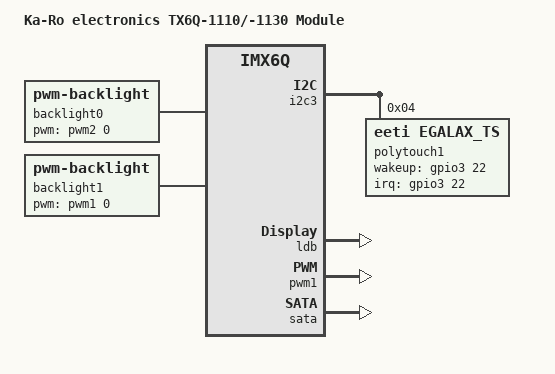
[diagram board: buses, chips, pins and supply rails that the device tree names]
/*
 * Copyright 2014 Lothar Waßmann <LW@KARO-electronics.de>
 *
 * The code contained herein is licensed under the GNU General Public
 * License. You may obtain a copy of the GNU General Public License
 * Version 2 at the following locations:
 *
 * http://www.opensource.org/licenses/gpl-license.html
 * http://www.gnu.org/copyleft/gpl.html
 */

/dts-v1/;
#include "imx6q.dtsi"
#include "imx6qdl-tx6.dtsi"

/ {
	model = "Ka-Ro electronics TX6Q-1110/-1130 Module";
	compatible = "karo,imx6q-tx6q", "fsl,imx6q";

	aliases {
		display = &lvds0;
		ipu1 = &ipu2;
		lvds0 = &lvds0;
		lvds1 = &lvds1;
		mxcfb0 = &lvds0;
		mxcfb1 = &lvds1;
	};

	backlight0: backlight0 {
		compatible = "pwm-backlight";
		pwms = <&pwm2 0 500000 0>;
		/*
		 * a poor man's way to create a 1:1 relationship between
		 * the PWM value and the actual duty cycle
		 */
		brightness-levels = < 0  1  2  3  4  5  6  7  8  9
				     10 11 12 13 14 15 16 17 18 19
				     20 21 22 23 24 25 26 27 28 29
				     30 31 32 33 34 35 36 37 38 39
				     40 41 42 43 44 45 46 47 48 49
				     50 51 52 53 54 55 56 57 58 59
				     60 61 62 63 64 65 66 67 68 69
				     70 71 72 73 74 75 76 77 78 79
				     80 81 82 83 84 85 86 87 88 89
				     90 91 92 93 94 95 96 97 98 99
				    100>;
		default-brightness-level = <50>;
	};

	backlight1: backlight1 {
		compatible = "pwm-backlight";
		pwms = <&pwm1 0 500000 0>;
		/*
		 * a poor man's way to create a 1:1 relationship between
		 * the PWM value and the actual duty cycle
		 */
		brightness-levels = < 0  1  2  3  4  5  6  7  8  9
				     10 11 12 13 14 15 16 17 18 19
				     20 21 22 23 24 25 26 27 28 29
				     30 31 32 33 34 35 36 37 38 39
				     40 41 42 43 44 45 46 47 48 49
				     50 51 52 53 54 55 56 57 58 59
				     60 61 62 63 64 65 66 67 68 69
				     70 71 72 73 74 75 76 77 78 79
				     80 81 82 83 84 85 86 87 88 89
				     90 91 92 93 94 95 96 97 98 99
				    100>;
		default-brightness-level = <50>;
	};

	lvds0: fb@0 {
		compatible = "fsl,mxc_sdc_fb";
		disp_dev = "ldb";
		interface_pix_fmt = "RGB666";
		mode_str = "LDB-XGA";
		default_bpp = <32>;
		int_clk = <0>;
		late_init = <0>;
		fsl,data-mapping = "spwg";
		fsl,data-width = <18>;
		status = "okay";

		display-timings {
			native-mode = <&lvds0_timing0>;

			lvds0_timing0: hsd100pxn1 {
				clock-frequency = <65000000>;
				hactive = <1024>;
				vactive = <768>;
				hback-porch = <220>;
				hfront-porch = <40>;
				vback-porch = <21>;
				vfront-porch = <7>;
				hsync-len = <60>;
				vsync-len = <10>;
				hsync-active = <0>;
				vsync-active = <0>;
				de-active = <1>;
				pixelclk-active = <1>;
			};

			lvds0_timing1: VGA {
				clock-frequency = <25200000>;
				hactive = <640>;
				vactive = <480>;
				hback-porch = <48>;
				hfront-porch = <16>;
				vback-porch = <31>;
				vfront-porch = <12>;
				hsync-len = <96>;
				vsync-len = <2>;
				hsync-active = <0>;
				vsync-active = <0>;
				de-active = <1>;
				pixelclk-active = <0>;
			};

			lvds0_timing2: nl12880bc20 {
				clock-frequency = <71000000>;
				hactive = <1280>;
				vactive = <800>;
				hback-porch = <50>;
				hfront-porch = <50>;
				vback-porch = <5>;
				vfront-porch = <5>;
				hsync-len = <60>;
				vsync-len = <13>;
				hsync-active = <0>;
				vsync-active = <0>;
				de-active = <1>;
				pixelclk-active = <0>;
			};
		};
	};

	lvds1: fb@1 {
		compatible = "fsl,mxc_sdc_fb";
		disp_dev = "ldb";
		interface_pix_fmt = "RGB666";
		mode_str = "LDB-XGA";
		default_bpp = <32>;
		int_clk = <0>;
		late_init = <0>;
		fsl,data-mapping = "spwg";
		fsl,data-width = <18>;
		status = "okay";

		display-timings {
			native-mode = <&lvds1_timing0>;

			lvds1_timing0: hsd100pxn1 {
				clock-frequency = <65000000>;
				hactive = <1024>;
				vactive = <768>;
				hback-porch = <220>;
				hfront-porch = <40>;
				vback-porch = <21>;
				vfront-porch = <7>;
				hsync-len = <60>;
				vsync-len = <10>;
				hsync-active = <0>;
				vsync-active = <0>;
				de-active = <1>;
				pixelclk-active = <0>;
			};

			lvds1_timing1: VGA {
				clock-frequency = <25200000>;
				hactive = <640>;
				vactive = <480>;
				hback-porch = <48>;
				hfront-porch = <16>;
				vback-porch = <31>;
				vfront-porch = <12>;
				hsync-len = <96>;
				vsync-len = <2>;
				hsync-active = <0>;
				vsync-active = <0>;
				de-active = <1>;
				pixelclk-active = <0>;
			};

			lvds1_timing2: nl12880bc20 {
				clock-frequency = <71000000>;
				hactive = <1280>;
				vactive = <800>;
				hback-porch = <50>;
				hfront-porch = <50>;
				vback-porch = <5>;
				vfront-porch = <5>;
				hsync-len = <60>;
				vsync-len = <13>;
				hsync-active = <0>;
				vsync-active = <0>;
				de-active = <1>;
				pixelclk-active = <0>;
			};
		};
	};
};

&i2c3 {
	polytouch1: eeti@04 {
		compatible = "eeti,egalax_ts";
		reg = <0x04>;
		pinctrl-names = "default";
		pinctrl-0 = <&pinctrl_eeti>;
		interrupt-parent = <&gpio3>;
		interrupts = <22 0>;
		wakeup-gpios = <&gpio3 22 GPIO_ACTIVE_HIGH>;
		linux,wakeup;
	};
};

&iomuxc {
	imx6q-tx6q-11x0 {
		pinctrl_eeti: eetigrp {
			fsl,pins = <
				MX6QDL_PAD_EIM_D22__GPIO3_IO22 0x1b0b1 /* Interrupt */
			>;
		};
	};
};

&ipu2 {
	status = "disabled";
};

&kpp {
	status = "disabled"; /* pads partially clash with backlight1 PWM */
};

&ldb {
	ipu_id = <0>;
	disp_id = <0>;
	ext_ref = <0>;
	mode = "sep0";
	sec_ipu_id = <0>;
	sec_disp_id = <1>;
	status = "okay";
};

&pwm1 {
	status = "okay";
};

&sata {
	status = "okay";
};
